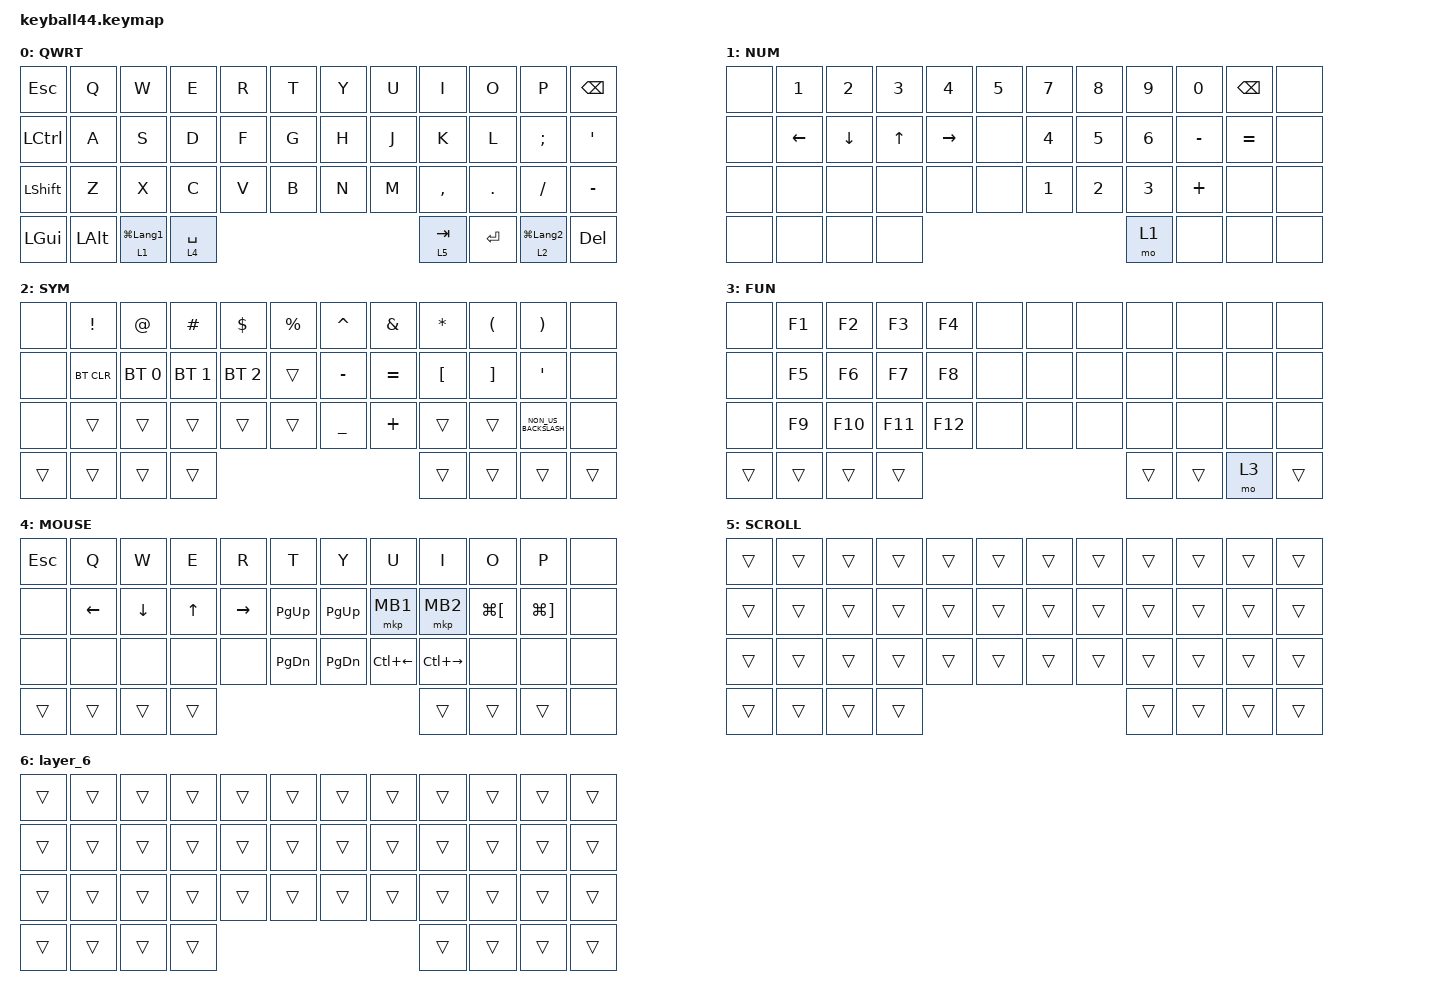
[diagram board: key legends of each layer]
#define DEFAULT 0
#define NUM     1
#define SYM     2
#define FUN     3
#define MOUSE   4
#define SCROLL  5
#define SNIPE   6

#include <behaviors/mouse_keys.dtsi>
#include <dt-bindings/zmk/mouse.h>
#include <behaviors.dtsi>
#include <dt-bindings/zmk/bt.h>
#include <dt-bindings/zmk/keys.h>
#include <dt-bindings/zmk/pointing.h>

&lt {
    tapping-term-ms = <240>;
    flavor = "balanced";
    quick-tap-ms = <150>;
};

&mt {
    tapping-term-ms = <200>;
    flavor = "tap-preferred";
    quick-tap-ms = <150>;
};

&caps_word { continue-list = <UNDERSCORE MINUS>; };

/ {
    // custom shift using mod-morph 

    behaviors {
        cmqus: comma_question {
            compatible = "zmk,behavior-mod-morph";
            label = "COMMA_QUESTION";
            #binding-cells = <0>;
            bindings = <&kp COMMA>, <&kp QUESTION>;

            mods = <(MOD_LSFT|MOD_RSFT)>;
        };

        dtsmi: dot_semi {
            compatible = "zmk,behavior-mod-morph";
            label = "DOT_SEMI";
            #binding-cells = <0>;
            bindings = <&kp DOT>, <&kp SEMI>;

            mods = <(MOD_LSFT|MOD_RSFT)>;
        };
    };

    keymap {
        compatible = "zmk,keymap";

        default_layer {
            label = "QWRT";
            bindings = <
&kp ESCAPE      &kp Q     &kp W                 &kp E        &kp R      &kp T                 &kp Y                 &kp U  &kp I      &kp O    &kp P      &kp BACKSPACE
&kp LCTRL       &kp A     &kp S                 &kp D        &kp F      &kp G                 &kp H                 &kp J  &kp K      &kp L    &kp SEMI   &kp SQT
&kp LEFT_SHIFT  &kp Z     &kp X                 &kp C        &kp V      &kp B                 &kp N                 &kp M  &kp COMMA  &kp DOT  &kp SLASH  &kp MINUS
&kp LGUI        &kp LALT  &lt 1 LG(LANGUAGE_1)  &lt 4 SPACE  &lt 5 TAB             &kp ENTER  &lt 2 LG(LANGUAGE_2)                                        &kp DELETE
            >;
        };

        number_layer {
            label = "NUM";
            bindings = <
&none  &kp NUMBER_1  &kp NUMBER_2  &kp NUMBER_3  &kp NUMBER_4  &kp NUMBER_5             &kp NUMBER_7  &kp NUMBER_8  &kp NUMBER_9  &kp NUMBER_0  &kp BACKSPACE  &none
&none  &kp LEFT      &kp DOWN      &kp UP_ARROW  &kp RIGHT     &none                    &kp NUMBER_4  &kp NUMBER_5  &kp NUMBER_6  &kp MINUS     &kp EQUAL      &none
&none  &none         &none         &none         &none         &none                    &kp NUMBER_1  &kp NUMBER_2  &kp NUMBER_3  &kp PLUS      &none          &none
&none  &none         &none         &none         &mo 1                           &none  &none                                                                  &none
            >;
        };

        symbol_layer {
            label = "SYM";
            bindings = <
&none   &kp EXCLAMATION  &kp AT_SIGN   &kp HASH      &kp DOLLAR    &kp PERCENT              &kp CARET       &kp AMPERSAND  &kp ASTERISK      &kp LEFT_PARENTHESIS  &kp RIGHT_PARENTHESIS  &none
&none   &bt BT_CLR       &bt BT_SEL 0  &bt BT_SEL 1  &bt BT_SEL 2  &trans                   &kp MINUS       &kp EQUAL      &kp LEFT_BRACKET  &kp RIGHT_BRACKET     &kp SQT                &none
&none   &trans           &trans        &trans        &trans        &trans                   &kp UNDERSCORE  &kp PLUS       &trans            &trans                &kp NON_US_BACKSLASH   &none
&trans  &trans           &trans        &trans        &trans                         &trans  &trans                                                                                        &trans
            >;
        };

        function_layer {
            label = "FUN";
            bindings = <
&none   &kp F1  &kp F2   &kp F3   &kp F4   &none              &none  &none  &none  &none  &none  &none
&none   &kp F5  &kp F6   &kp F7   &kp F8   &none              &none  &none  &none  &none  &none  &none
&none   &kp F9  &kp F10  &kp F11  &kp F12  &none              &none  &none  &none  &none  &none  &none
&trans  &trans  &trans   &trans   &trans              &trans  &mo 3                              &trans
            >;
        };

        mouse_layer {
            label = "MOUSE";
            bindings = <
&kp ESC  &kp Q           &kp W           &kp E         &kp R      &kp T                      &kp Y          &kp U               &kp I                &kp O                 &kp P                  &none
&none    &kp LEFT_ARROW  &kp DOWN_ARROW  &kp UP_ARROW  &kp RIGHT  &kp PG_UP                  &kp PAGE_UP    &mkp MB1            &mkp MB2             &kp LG(LEFT_BRACKET)  &kp LG(RIGHT_BRACKET)  &none
&none    &none           &none           &none         &none      &kp PAGE_DOWN              &kp PAGE_DOWN  &kp LC(LEFT_ARROW)  &kp LC(RIGHT_ARROW)  &none                 &none                  &none
&trans   &trans          &trans          &trans        &trans                        &trans  &trans                                                                                               &none
            >;
        };

        scroll_layer {
            label = "SCROLL";
            bindings = <
&trans  &trans  &trans  &trans  &trans  &trans              &trans  &trans  &trans  &trans  &trans  &trans
&trans  &trans  &trans  &trans  &trans  &trans              &trans  &trans  &trans  &trans  &trans  &trans
&trans  &trans  &trans  &trans  &trans  &trans              &trans  &trans  &trans  &trans  &trans  &trans
&trans  &trans  &trans  &trans  &trans              &trans  &trans                                  &trans
            >;
        };

        layer_6 {
            bindings = <
&trans  &trans  &trans  &trans  &trans  &trans              &trans  &trans  &trans  &trans  &trans  &trans
&trans  &trans  &trans  &trans  &trans  &trans              &trans  &trans  &trans  &trans  &trans  &trans
&trans  &trans  &trans  &trans  &trans  &trans              &trans  &trans  &trans  &trans  &trans  &trans
&trans  &trans  &trans  &trans  &trans              &trans  &trans                                  &trans
            >;
        };
    };
};
